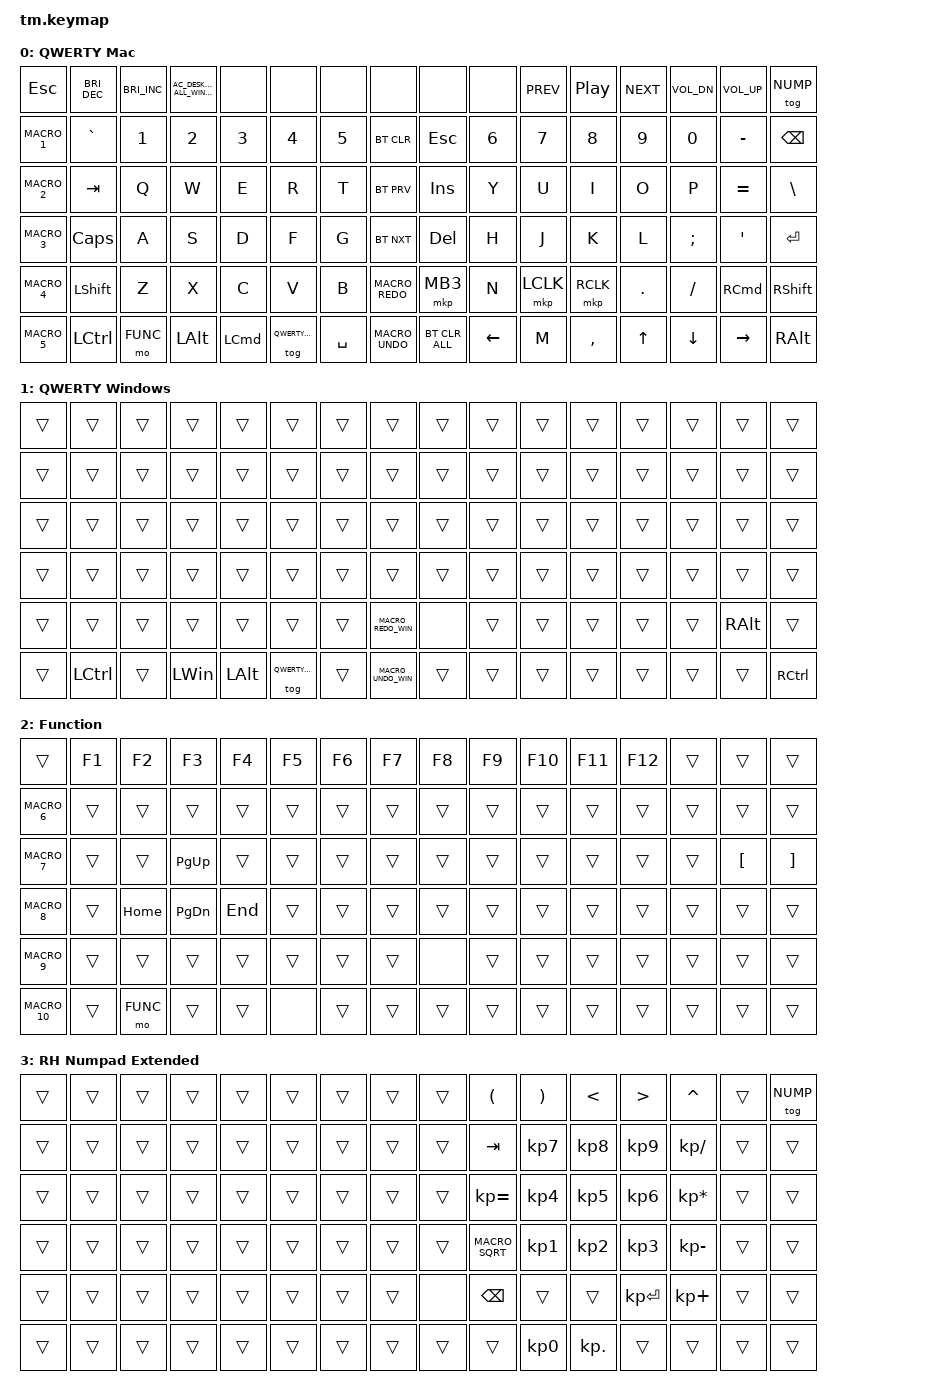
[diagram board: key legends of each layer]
#include <behaviors.dtsi>
#include <dt-bindings/zmk/bt.h>
#include <dt-bindings/zmk/keys.h>
#include <dt-bindings/zmk/pointing.h>

#define QWERTYMAC  0  //Default layer
#define QWERTYWIN  1  //Default layer w/ modifier keys for windows
#define FUNC       2  //FN key is held
#define NUMP       3  //Numpad key is toggled

/ {

    macros {
        MACRO_SQRT: MACRO_SQRT { // call this macro with &MACRO_SQRT
            compatible = "zmk,behavior-macro";
            #binding-cells = <0>; // # of parameters
            wait-ms = <40>;
            tap-ms = <40>;
            bindings
                = <&macro_tap &kp S &kp Q &kp R &kp T &kp LPAR>;
        };

// MAC UNDO & REDO MACROS
        MACRO_UNDO: MACRO_UNDO {
            compatible = "zmk,behavior-macro";
            #binding-cells = <0>; // # of parameters
            wait-ms = <40>;
            tap-ms = <40>;
            bindings
                = <&macro_press &kp LCMD>,
                  <&macro_tap &kp Z>,
                  <&macro_release &kp LCMD>;
        };
        MACRO_REDO: MACRO_REDO {
            compatible = "zmk,behavior-macro";
            #binding-cells = <0>; // # of parameters
            wait-ms = <40>;
            tap-ms = <40>;
            bindings
                = <&macro_press &kp LCMD>,
                  <&macro_tap &kp Y>,
                  <&macro_release &kp LCMD>;
        };

// WINDOWS UNDO & REDO MACROS
        MACRO_UNDO_WIN: MACRO_UNDO_WIN {
            compatible = "zmk,behavior-macro";
            #binding-cells = <0>; // # of parameters
            wait-ms = <40>;
            tap-ms = <40>;
            bindings
                = <&macro_press &kp LCTRL>,
                  <&macro_tap &kp Z>,
                  <&macro_release &kp LCTRL>;
        };
        MACRO_REDO_WIN: MACRO_REDO_WIN {
            compatible = "zmk,behavior-macro";
            #binding-cells = <0>; // # of parameters
            wait-ms = <40>;
            tap-ms = <40>;
            bindings
                = <&macro_press &kp LCTRL>,
                  <&macro_tap &kp Y>,
                  <&macro_release &kp LCTRL>;
        };

// USER SET MACROS
        MACRO_1: MACRO_1 {
            compatible = "zmk,behavior-macro";
            #binding-cells = <0>; // # of parameters
            bindings
                = <&none>;
        };
        MACRO_2: MACRO_2 {
            compatible = "zmk,behavior-macro";
            #binding-cells = <0>; // # of parameters
            bindings
                = <&none>;
        };
        MACRO_3: MACRO_3 {
            compatible = "zmk,behavior-macro";
            #binding-cells = <0>; // # of parameters
            bindings
                = <&none>;
        };
        MACRO_4: MACRO_4 {
            compatible = "zmk,behavior-macro";
            #binding-cells = <0>; // # of parameters
            bindings
                = <&none>;
        };
        MACRO_5: MACRO_5 {
            compatible = "zmk,behavior-macro";
            #binding-cells = <0>; // # of parameters
            bindings
                = <&none>;
        };
        MACRO_6: MACRO_6 {
            compatible = "zmk,behavior-macro";
            #binding-cells = <0>; // # of parameters
            bindings
                = <&none>;
        };
        MACRO_7: MACRO_7 {
            compatible = "zmk,behavior-macro";
            #binding-cells = <0>; // # of parameters
            bindings
                = <&none>;
        };
        MACRO_8: MACRO_8 {
            compatible = "zmk,behavior-macro";
            #binding-cells = <0>; // # of parameters
            bindings
                = <&none>;
        };
        MACRO_9: MACRO_9 {
            compatible = "zmk,behavior-macro";
            #binding-cells = <0>; // # of parameters
            bindings
                = <&none>;
        };
        MACRO_10: MACRO_10 {
            compatible = "zmk,behavior-macro";
            #binding-cells = <0>; // # of parameters
            bindings
                = <&none>;
        };

    };

// KEYMAPS
    keymap {
        compatible = "zmk,keymap";

        default_layer { // Layer 0
            display-name = "QWERTY Mac";
            bindings = <
                &kp ESCAPE	&kp C_BRI_DEC	    &kp C_BRI_INC	&kp C_AC_DESKTOP_SHOW_ALL_WINDOWS	&none        	    &none	        &none	        &none	    &none	    &none	        &kp C_PREV	    &kp C_PP	    &kp C_NEXT	    &kp C_VOL_DN	&kp C_VOL_UP	    &tog NUMP
                &MACRO_1	&kp GRAVE	        &kp NUMBER_1	&kp NUMBER_2	                    &kp NUMBER_3	    &kp NUMBER_4	&kp NUMBER_5	&bt BT_CLR  &kp ESCAPE	&kp NUMBER_6	&kp NUMBER_7	&kp NUMBER_8	&kp NUMBER_9	&kp NUMBER_0	&kp MINUS	        &kp BACKSPACE
                &MACRO_2	&kp TAB	            &kp Q	        &kp W	                            &kp E	            &kp R        	&kp T	        &bt BT_PRV	&kp INSERT	&kp Y	        &kp U	        &kp I	        &kp O	        &kp P	        &kp EQUAL	        &kp BACKSLASH
                &MACRO_3	&kp CAPSLOCK	    &kp A	        &kp S	                            &kp D        	    &kp F	        &kp G	        &bt BT_NXT	&kp DELETE	&kp H	        &kp J	        &kp K	        &kp L	        &kp SEMICOLON	&kp SINGLE_QUOTE	&kp RETURN
                &MACRO_4	&kp LEFT_SHIFT	    &kp Z	        &kp X	                            &kp C        	    &kp V	        &kp B	        &MACRO_REDO	&mkp MB3    &kp N    	    &mkp LCLK	    &mkp RCLK    	&kp PERIOD	    &kp SLASH	    &kp RIGHT_COMMAND	&kp RIGHT_SHIFT
                &MACRO_5	&kp LEFT_CONTROL	&mo FUNC	    &kp LEFT_ALT	                    &kp LEFT_COMMAND    &tog QWERTYWIN	&kp SPACE	    &MACRO_UNDO	&bt BT_CLR_ALL	&kp LEFT_ARROW	&kp M	    &kp COMMA    	&kp UP_ARROW	&kp DOWN_ARROW	&kp RIGHT_ARROW	    &kp RIGHT_ALT
            >;
        };

        default_layer_win { // Layer 1
            display-name = "QWERTY Windows";
            bindings = <
                &trans  &trans  &trans  &trans  &trans  &trans  &trans  &trans  &trans  &trans  &trans  &trans  &trans  &trans  &trans  &trans  &trans  &trans  &trans  &trans  &trans  &trans  &trans  &trans  &trans  &trans  &trans  &trans  &trans  &trans  &trans  &trans  &trans  &trans  &trans  &trans  &trans  &trans  &trans  &trans  &trans  &trans  &trans  &trans  &trans  &trans  &trans  &trans  &trans  &trans  &trans  &trans  &trans  &trans  &trans  &trans  &trans  &trans  &trans  &trans  &trans  &trans  &trans  &trans  &trans  &trans  &trans  &trans  &trans  &trans  &trans  &MACRO_REDO_WIN  &none  &trans  &trans  &trans  &trans  &trans  &kp RIGHT_ALT  &trans  &trans  &kp LEFT_CONTROL  &trans  &kp LEFT_WIN  &kp LEFT_ALT  &tog QWERTYWIN  &trans  &MACRO_UNDO_WIN  &trans  &trans  &trans  &trans  &trans  &trans  &trans  &kp RIGHT_CONTROL
            >;
        };
        
        function_layer { // Layer 2
            display-name = "Function";
            bindings = <
                &trans  &kp F1  &kp F2  &kp F3  &kp F4  &kp F5  &kp F6  &kp F7  &kp F8  &kp F9  &kp F10  &kp F11  &kp F12  &trans  &trans  &trans  &MACRO_6  &trans  &trans  &trans  &trans  &trans  &trans  &trans  &trans  &trans  &trans  &trans  &trans  &trans  &trans  &trans  &MACRO_7  &trans  &trans  &kp PG_UP  &trans  &trans  &trans  &trans  &trans  &trans  &trans  &trans  &trans  &trans  &kp LBKT  &kp RBKT  &MACRO_8  &trans  &kp HOME  &kp PG_DN  &kp END  &trans  &trans  &trans  &trans  &trans  &trans  &trans  &trans  &trans  &trans  &trans  &MACRO_9  &trans  &trans  &trans  &trans  &trans  &trans  &trans  &none  &trans  &trans  &trans  &trans  &trans  &trans  &trans  &MACRO_10  &trans  &mo FUNC  &trans  &trans  &none  &trans  &trans  &trans  &trans  &trans  &trans  &trans  &trans  &trans  &trans
            >;
        };

        numpad_layer { // Layer 3
            display-name = "RH Numpad Extended";
            bindings = <
                &trans  &trans  &trans  &trans  &trans  &trans  &trans  &trans  &trans  &kp LPAR  &kp RPAR  &kp LESS_THAN  &kp GREATER_THAN  &kp CARET  &trans  &tog NUMP  &trans  &trans  &trans  &trans  &trans  &trans  &trans  &trans  &trans  &kp TAB  &kp KP_N7  &kp KP_N8  &kp KP_N9  &kp KP_DIVIDE  &trans  &trans  &trans  &trans  &trans  &trans  &trans  &trans  &trans  &trans  &trans  &kp KP_EQUAL  &kp KP_N4  &kp KP_N5  &kp KP_N6  &kp KP_MULTIPLY  &trans  &trans  &trans  &trans  &trans  &trans  &trans  &trans  &trans  &trans  &trans  &MACRO_SQRT  &kp KP_N1  &kp KP_N2  &kp KP_N3  &kp KP_MINUS  &trans  &trans  &trans  &trans  &trans  &trans  &trans  &trans  &trans  &trans  &none  &kp BACKSPACE  &trans  &trans  &kp KP_ENTER  &kp KP_PLUS  &trans  &trans  &trans  &trans  &trans  &trans  &trans  &trans  &trans  &trans  &trans  &trans  &kp KP_N0  &kp KP_DOT  &trans  &trans  &trans  &trans
            >;
        };

    };
};
